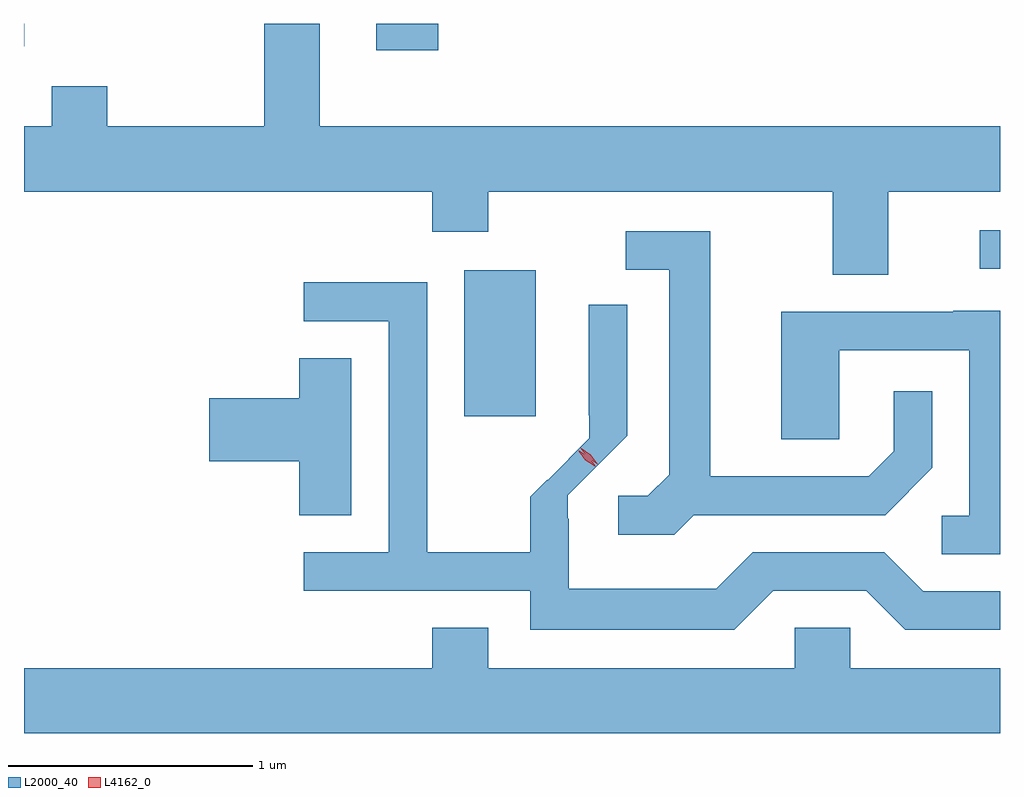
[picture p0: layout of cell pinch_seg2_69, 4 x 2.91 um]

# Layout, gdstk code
import gdstk
lib = gdstk.Library(unit=1e-6, precision=1e-09)
def R(c, l, rs):  # rectangles x0, y0, x1, y1
    for r in rs: c.add(gdstk.rectangle(r[:2], r[2:], *l))
def P(c, l, *ps):  # polygons
    for p in ps: c.add(gdstk.Polygon(p, *l))
L2000_40 = (2000, 40)
L4162_0 = (4162, 0)

pinch_seg2_69 = lib.new_cell('pinch_seg2_69')
R(pinch_seg2_69, L2000_40, [(1125.431,987.456,1125.724,988.054), (1127.543,988.061,1127.627,988.219), (1125.071,988.956,1125.324,989.065)])
P(pinch_seg2_69, L2000_40, [(1127.169,988.376),(1127.627,988.376),(1127.627,988.644),(1124.839,988.644),(1124.839,989.065),(1124.611,989.065),(1124.611,988.644),(1123.969,988.644),(1123.969,988.809),(1123.741,988.809),(1123.741,988.644),(1123.627,988.644),(1123.627,988.376),(1125.301,988.376),(1125.301,988.211),(1125.529,988.211),(1125.529,988.376),(1126.941,988.376),(1126.941,988.036),(1127.169,988.036)],
  [(1123.629,988.974),(1123.629,989.065),(1123.627,989.065),(1123.627,988.972)],
  [(1126.372,987.051),(1127.157,987.051),(1127.349,987.244),(1127.349,987.558),(1127.191,987.558),(1127.191,987.312),(1127.089,987.209),(1126.439,987.209),(1126.439,988.214),(1126.093,988.214),(1126.093,988.056),(1126.271,988.056),(1126.271,987.217),(1126.184,987.129),(1126.063,987.129),(1126.063,986.971),(1126.292,986.971)],
  [(1126.697,986.741),(1127.079,986.741),(1127.239,986.581),(1127.627,986.581),(1127.627,986.739),(1127.312,986.739),(1127.152,986.899),(1126.614,986.899),(1126.464,986.749),(1125.859,986.749),(1125.859,987.036),(1125.855,987.036),(1125.855,987.131),(1126.099,987.375),(1126.099,987.913),(1125.941,987.913),(1125.941,987.46),(1125.944,987.46),(1125.944,987.365),(1125.773,987.194),(1125.771,987.195),(1125.701,987.125),(1125.701,986.899),(1125.279,986.899),(1125.279,988.004),(1124.773,988.004),(1124.773,987.846),(1125.121,987.846),(1125.121,986.899),(1124.773,986.899),(1124.773,986.741),(1125.701,986.741),(1125.701,986.581),(1126.537,986.581)],
  [(1127.627,987.889),(1127.435,987.889),(1127.435,987.884),(1126.731,987.884),(1126.731,987.361),(1126.969,987.361),(1126.969,987.726),(1127.501,987.726),(1127.501,987.049),(1127.388,987.049),(1127.388,986.891),(1127.627,986.891)],
  [(1124.969,987.694),(1124.756,987.694),(1124.756,987.529),(1124.386,987.529),(1124.386,987.271),(1124.756,987.271),(1124.756,987.051),(1124.969,987.051)],
  [(1127.627,986.424),(1127.014,986.424),(1127.014,986.589),(1126.786,986.589),(1126.786,986.424),(1125.529,986.424),(1125.529,986.589),(1125.301,986.589),(1125.301,986.424),(1123.627,986.424),(1123.627,986.156),(1127.627,986.156)])
P(pinch_seg2_69, L4162_0, [(1125.967,987.251),(1125.927,987.275),(1125.901,987.313),(1125.901,987.314),(1125.902,987.314),(1125.942,987.29),(1125.968,987.252),(1125.968,987.251)],
  [(1125.98,987.257),(1125.937,987.285),(1125.907,987.326),(1125.907,987.327),(1125.908,987.327),(1125.95,987.299),(1125.98,987.258),(1125.98,987.257)])

lib.write_gds('pinch_seg2_69.gds')
